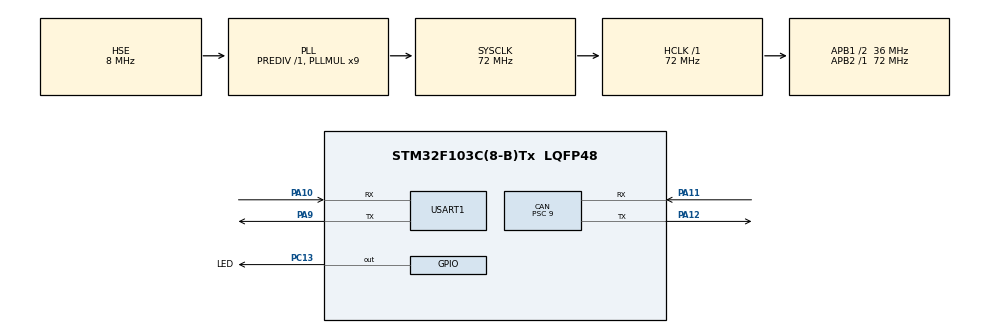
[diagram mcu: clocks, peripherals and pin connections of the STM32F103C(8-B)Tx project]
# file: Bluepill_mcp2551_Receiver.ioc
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CAN.BS1=CAN_BS1_12TQ
CAN.BS2=CAN_BS2_3TQ
CAN.CalculateBaudRate=250000
CAN.CalculateTimeBit=4000
CAN.CalculateTimeQuantum=250.0
CAN.Prescaler=9
Mcu.Family=STM32F1
Mcu.Name=STM32F103C(8-B)Tx
Mcu.Package=LQFP48
NVIC.CAN1_RX1_IRQn=true\:0\:0\:false\:false\:true\:true\:true\:true
NVIC.PriorityGroup=NVIC_PRIORITYGROUP_4
PA10.Mode=Asynchronous
PA10.Signal=USART1_RX
PA11.Mode=CAN_Activate
PA11.Signal=CAN_RX
PA12.Mode=CAN_Activate
PA12.Signal=CAN_TX
PA13.Mode=Serial_Wire
PA13.Signal=SYS_JTMS-SWDIO
PA14.Mode=Serial_Wire
PA14.Signal=SYS_JTCK-SWCLK
PA9.Mode=Asynchronous
PA9.Signal=USART1_TX
PC13-TAMPER-RTC.GPIO_Label=LED
PC13-TAMPER-RTC.GPIO_ModeDefaultOutputPP=GPIO_MODE_OUTPUT_OD
PC13-TAMPER-RTC.GPIO_PuPd=GPIO_NOPULL
PC13-TAMPER-RTC.PinState=GPIO_PIN_SET
PC13-TAMPER-RTC.Signal=GPIO_Output
PD0-OSC_IN.Mode=HSE-External-Oscillator
PD0-OSC_IN.Signal=RCC_OSC_IN
PD1-OSC_OUT.Mode=HSE-External-Oscillator
PD1-OSC_OUT.Signal=RCC_OSC_OUT
ProjectManager.HeapSize=0x200
ProjectManager.StackSize=0x400
ProjectManager.TargetToolchain=STM32CubeIDE
RCC.AHBFreq_Value=72000000
RCC.APB1CLKDivider=RCC_HCLK_DIV2
RCC.APB1Freq_Value=36000000
RCC.APB1TimFreq_Value=72000000
RCC.APB2Freq_Value=72000000
RCC.APB2TimFreq_Value=72000000
RCC.HCLKFreq_Value=72000000
RCC.PLLMUL=RCC_PLL_MUL9
RCC.PLLSourceVirtual=RCC_PLLSOURCE_HSE
RCC.SYSCLKFreq_VALUE=72000000
RCC.SYSCLKSource=RCC_SYSCLKSOURCE_PLLCLK
RCC.USBFreq_Value=72000000
USART1.VirtualMode=VM_ASYNC
board=custom

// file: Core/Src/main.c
/* USER CODE BEGIN Header */
/**
  ******************************************************************************
  * @file           : main.c
  * @brief          : Main program body
  ******************************************************************************
  * @attention
  *
  * Copyright (c) 2026 STMicroelectronics.
  * All rights reserved.
  *
  * This software is licensed under terms that can be found in the LICENSE file
  * in the root directory of this software component.
  * If no LICENSE file comes with this software, it is provided AS-IS.
  *
  ******************************************************************************
  */
/* USER CODE END Header */
#include "main.h"

/* USER CODE BEGIN Includes */
#include<stdio.h>
#include<string.h>
/* USER CODE END Includes */

/* USER CODE BEGIN PD */
#define CAN_ID_Tx 0b11001111100
#define CAN_ID_Rx 0b11001111101

#define CAN_First_ID 0b11001111100
#define CAN_Rx_MASK 0b11111111100
/* USER CODE END PD */

CAN_HandleTypeDef hcan;

UART_HandleTypeDef huart1;

/* USER CODE BEGIN PV */
CAN_FilterTypeDef filterConfig;

CAN_RxHeaderTypeDef RxHeader;

uint8_t receivedData[8];

/* USER CODE END PV */

void SystemClock_Config(void);
static void MX_GPIO_Init(void);
static void MX_CAN_Init(void);
static void MX_USART1_UART_Init(void);

/* USER CODE BEGIN 0 */

int _write(int fd, char *ptr, int len){
	if(fd==1 || fd==2){
		if(HAL_UART_Transmit(&huart1, (uint8_t *)ptr, len, HAL_MAX_DELAY)==HAL_OK) return len;
		else return -1;
	}

	else return 0;
}

void HAL_CAN_RxFifo0MsgPendingCallback(CAN_HandleTypeDef *hcan){
	if(HAL_CAN_GetRxMessage(hcan, CAN_RX_FIFO0, &RxHeader, receivedData)==HAL_OK){
//		if(RxHeader.StdId==CAN_ID_Tx)
		{
			HAL_GPIO_TogglePin(LED_GPIO_Port, LED_Pin);

			printf("Got message - id=0x%04lx type=%lx len=0x%lx, data=0x%02x%02x%02x%02x%02x%02x%02x%02x (Time in s)\r\n",
			    				 RxHeader.StdId, RxHeader.RTR, RxHeader.DLC, receivedData[7], receivedData[6], receivedData[5], receivedData[4], receivedData[3], receivedData[2], receivedData[1], receivedData[0]);

		}

	}
}

/* USER CODE END 0 */

int main(void)
{

  /* MCU Configuration--------------------------------------------------------*/

  /* Reset of all peripherals, Initializes the Flash interface and the Systick. */
  HAL_Init();

  /* Configure the system clock */
  SystemClock_Config();

  /* Initialize all configured peripherals */
  MX_GPIO_Init();
  MX_CAN_Init();
  MX_USART1_UART_Init();
  /* USER CODE BEGIN 2 */

  //Receive filter
  filterConfig.FilterActivation=CAN_FILTER_ENABLE;
  filterConfig.FilterMode=CAN_FILTERMODE_IDMASK;
  filterConfig.FilterIdLow=0x0000; //CAN_First_ID<<5;
  filterConfig.FilterMaskIdLow=0x0000; //CAN_Rx_MASK<<5;
  filterConfig.FilterBank=0;
  filterConfig.FilterScale=CAN_FILTERSCALE_16BIT;
  filterConfig.FilterFIFOAssignment=CAN_FILTER_FIFO0;
  filterConfig.SlaveStartFilterBank = 14;

  HAL_CAN_ConfigFilter(&hcan, &filterConfig);
  HAL_CAN_Start(&hcan);

  HAL_CAN_ActivateNotification(&hcan, CAN_IT_RX_FIFO0_MSG_PENDING);

  /* USER CODE END 2 */

  /* Infinite loop */
  while (1)
  {

  }
}

void SystemClock_Config(void)
{
  RCC_OscInitTypeDef RCC_OscInitStruct = {0};
  RCC_ClkInitTypeDef RCC_ClkInitStruct = {0};

  /** Initializes the RCC Oscillators according to the specified parameters
  * in the RCC_OscInitTypeDef structure.
  */
  RCC_OscInitStruct.OscillatorType = RCC_OSCILLATORTYPE_HSE;
  RCC_OscInitStruct.HSEState = RCC_HSE_ON;
  RCC_OscInitStruct.HSEPredivValue = RCC_HSE_PREDIV_DIV1;
  RCC_OscInitStruct.HSIState = RCC_HSI_ON;
  RCC_OscInitStruct.PLL.PLLState = RCC_PLL_ON;
  RCC_OscInitStruct.PLL.PLLSource = RCC_PLLSOURCE_HSE;
  RCC_OscInitStruct.PLL.PLLMUL = RCC_PLL_MUL9;
  if (HAL_RCC_OscConfig(&RCC_OscInitStruct) != HAL_OK)
  {
    Error_Handler();
  }

  /** Initializes the CPU, AHB and APB buses clocks
  */
  RCC_ClkInitStruct.ClockType = RCC_CLOCKTYPE_HCLK|RCC_CLOCKTYPE_SYSCLK
                              |RCC_CLOCKTYPE_PCLK1|RCC_CLOCKTYPE_PCLK2;
  RCC_ClkInitStruct.SYSCLKSource = RCC_SYSCLKSOURCE_PLLCLK;
  RCC_ClkInitStruct.AHBCLKDivider = RCC_SYSCLK_DIV1;
  RCC_ClkInitStruct.APB1CLKDivider = RCC_HCLK_DIV2;
  RCC_ClkInitStruct.APB2CLKDivider = RCC_HCLK_DIV1;

  if (HAL_RCC_ClockConfig(&RCC_ClkInitStruct, FLASH_LATENCY_2) != HAL_OK)
  {
    Error_Handler();
  }
}

static void MX_CAN_Init(void)
{

  hcan.Instance = CAN1;
  hcan.Init.Prescaler = 9;
  hcan.Init.Mode = CAN_MODE_NORMAL;
  hcan.Init.SyncJumpWidth = CAN_SJW_1TQ;
  hcan.Init.TimeSeg1 = CAN_BS1_12TQ;
  hcan.Init.TimeSeg2 = CAN_BS2_3TQ;
  hcan.Init.TimeTriggeredMode = DISABLE;
  hcan.Init.AutoBusOff = DISABLE;
  hcan.Init.AutoWakeUp = DISABLE;
  hcan.Init.AutoRetransmission = DISABLE;
  hcan.Init.ReceiveFifoLocked = DISABLE;
  hcan.Init.TransmitFifoPriority = DISABLE;
  if (HAL_CAN_Init(&hcan) != HAL_OK)
  {
    Error_Handler();
  }

}

static void MX_USART1_UART_Init(void)
{

  huart1.Instance = USART1;
  huart1.Init.BaudRate = 115200;
  huart1.Init.WordLength = UART_WORDLENGTH_8B;
  huart1.Init.StopBits = UART_STOPBITS_1;
  huart1.Init.Parity = UART_PARITY_NONE;
  huart1.Init.Mode = UART_MODE_TX_RX;
  huart1.Init.HwFlowCtl = UART_HWCONTROL_NONE;
  huart1.Init.OverSampling = UART_OVERSAMPLING_16;
  if (HAL_UART_Init(&huart1) != HAL_OK)
  {
    Error_Handler();
  }

}

static void MX_GPIO_Init(void)
{
  GPIO_InitTypeDef GPIO_InitStruct = {0};

  /* GPIO Ports Clock Enable */
  __HAL_RCC_GPIOC_CLK_ENABLE();
  __HAL_RCC_GPIOD_CLK_ENABLE();
  __HAL_RCC_GPIOA_CLK_ENABLE();

  /*Configure GPIO pin Output Level */
  HAL_GPIO_WritePin(LED_GPIO_Port, LED_Pin, GPIO_PIN_SET);

  /*Configure GPIO pin : LED_Pin */
  GPIO_InitStruct.Pin = LED_Pin;
  GPIO_InitStruct.Mode = GPIO_MODE_OUTPUT_OD;
  GPIO_InitStruct.Pull = GPIO_NOPULL;
  GPIO_InitStruct.Speed = GPIO_SPEED_FREQ_LOW;
  HAL_GPIO_Init(LED_GPIO_Port, &GPIO_InitStruct);

}

void Error_Handler(void)
{
  __disable_irq();
  while (1)
  {
  }
}
